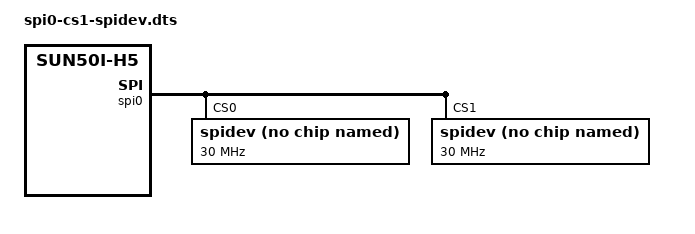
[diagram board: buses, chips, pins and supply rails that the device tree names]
/dts-v1/;
/plugin/;

/ {
	compatible = "allwinner,sun50i-h5";

	fragment@0 {
		target-path = "/aliases";
		__overlay__ {
			spi0 = "/soc/spi@01c68000";
		};
	};

	fragment@1 {
		target = <&spi0>;
		__overlay__ {
			#address-cells = <1>;
			#size-cells = <0>;
			spidev@0 {
				compatible = "spidev", "linux,spidev";
				reg = <0>;
				spi-max-frequency = <30000000>;
			};
			spidev@1 {
				compatible = "spidev", "linux,spidev";
				reg = <1>;
				spi-max-frequency = <30000000>;
			};
		};
	};
};
